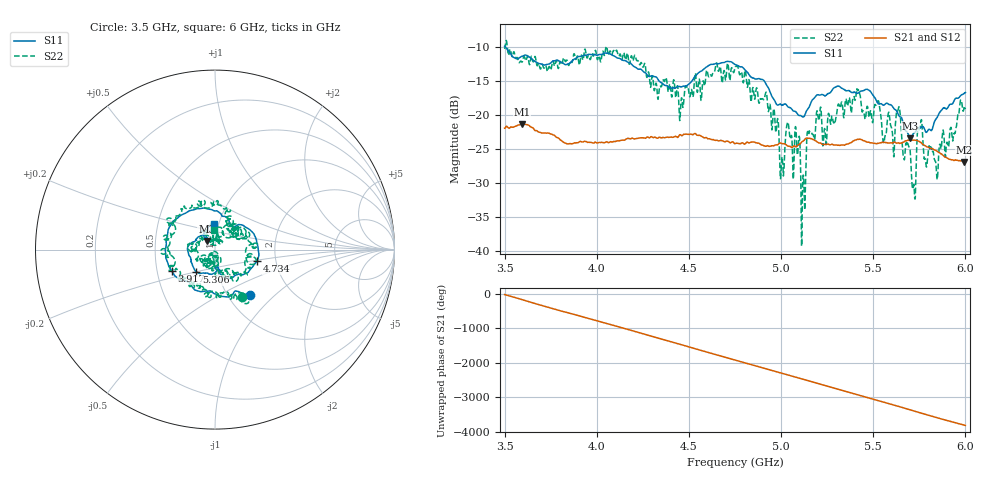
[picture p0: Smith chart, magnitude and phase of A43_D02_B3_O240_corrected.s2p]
! Created with skrf 1.9.0 (http://scikit-rf.org).
# Hz S RI R 50.0
!freq ReS11 ImS11 ReS21 ImS21 ReS12 ImS12 ReS22 ImS22
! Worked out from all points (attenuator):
!   1601 points, 3.5 GHz to 6 GHz, reference 50 ohm
!   highest |S21| = -21.38 dB at 3.594 GHz (marker M1); lowest = -26.9 dB at 5.992 GHz (marker M2)
!   lowest |S11| = -23.5 dB at 5.702 GHz (marker M3), VSWR 1.14, Z = 45.4 + j4.45 ohm
!   |S11| at or under -10 dB: 3.502 GHz to end of sweep
!   |S22| runs from -39.3 to -9.1 dB; largest |S21 - S12| = 0.00096
!   S11 on the Smith chart (normalised r, x): 3.5 GHz: 1.26, -0.71; 3.917 GHz: 0.60, -0.16; 4.734 GHz: 1.59, -0.22; 5.306 GHz: 0.79, -0.20; 6 GHz: 0.94, +0.28
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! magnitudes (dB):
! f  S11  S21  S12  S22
! 3.5 GHz  -9.9  -22.0  -22.0  -10.4
! 3.594 GHz  -11.4  -21.4  -21.4  -12.3
! 3.917 GHz  -11.4  -24.0  -24.0  -11.2
! 4.334 GHz  -14.9  -23.4  -23.3  -17.4
! 4.734 GHz  -12.3  -24.0  -24.0  -13.3
! 4.75 GHz  -12.6  -24.3  -24.2  -13.1
! 4.927 GHz  -15.8  -24.5  -24.5  -18.5
! 5.005 GHz  -18.5  -24.2  -24.2  -26.3
! 5.034 GHz  -18.8  -24.6  -24.5  -21.2
! 5.088 GHz  -19.9  -24.6  -24.6  -25.9
! 5.12 GHz  -20.3  -23.9  -23.8  -28.9
! 5.147 GHz  -19.1  -23.5  -23.5  -22.7
! 5.167 GHz  -17.9  -23.6  -23.5  -22.8
! 5.306 GHz  -15.8  -24.5  -24.4  -18.9
! 5.584 GHz  -18.5  -24.2  -24.1  -19.6
! 5.638 GHz  -20.1  -24.1  -24.1  -18.9
! 5.702 GHz  -23.5  -23.8  -23.7  -25.7
! 5.72 GHz  -22.7  -23.7  -23.7  -30.3
! 5.755 GHz  -22.0  -24.1  -24.0  -21.5
! 5.842 GHz  -20.6  -25.3  -25.2  -28.0
! 5.992 GHz  -16.9  -26.9  -26.9  -19.0
! 6 GHz  -16.7  -26.9  -26.9  -19.2
